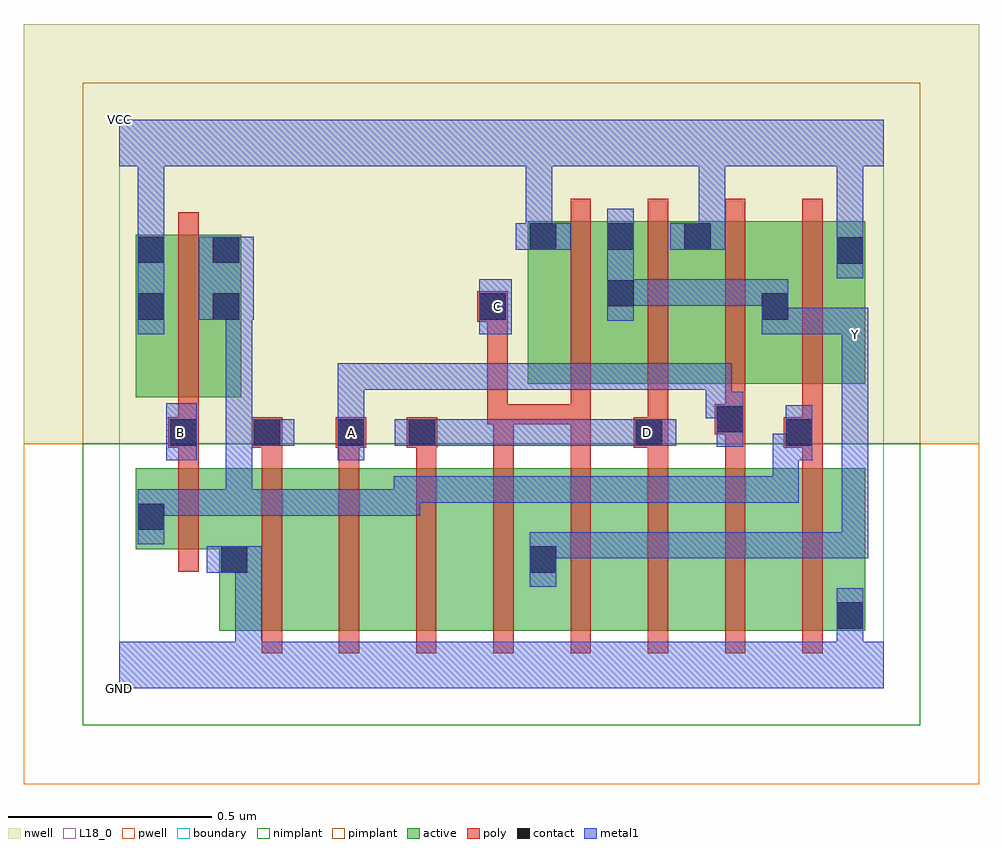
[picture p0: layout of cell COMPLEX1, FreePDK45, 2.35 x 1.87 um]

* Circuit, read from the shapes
.subckt COMPLEX1 A B C D GND VCC Y
M1 GND B n1 VSUBS nfet w=0.2u l=0.05u
M2 n2 n1 GND VSUBS nfet w=0.4u l=0.05u
M3 n3 A n2 VSUBS nfet w=0.4u l=0.05u
M4 n4 D n3 VSUBS nfet w=0.4u l=0.05u
M5 Y C n4 VSUBS nfet w=0.4u l=0.05u
M6 n5 C Y VSUBS nfet w=0.4u l=0.05u
M7 n6 D n5 VSUBS nfet w=0.4u l=0.05u
M8 n7 A n6 VSUBS nfet w=0.4u l=0.05u
M9 GND n1 n7 VSUBS nfet w=0.4u l=0.05u
M10 n1 B VCC n8 pfet w=0.4u l=0.05u
M11 Y C VCC n8 pfet w=0.4u l=0.05u
M12 VCC D Y n8 pfet w=0.4u l=0.05u
M13 Y A VCC n8 pfet w=0.4u l=0.05u
M14 VCC n1 Y n8 pfet w=0.4u l=0.05u
.ends

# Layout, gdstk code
import gdstk
lib = gdstk.Library(unit=1e-6, precision=1e-09)
def R(c, l, rs):  # rectangles x0, y0, x1, y1
    for r in rs: c.add(gdstk.rectangle(r[:2], r[2:], *l))
def A(c, l, x, y, w, h, nx, ny, dx, dy):  # array of equal rectangles
    R(c, l, [(x+i*dx, y+j*dy, x+i*dx+w, y+j*dy+h) for i in range(nx) for j in range(ny)])
active = (1, 0)
pwell = (2, 0)
nwell = (3, 0)
nimplant = (4, 0)
pimplant = (5, 0)
poly = (9, 0)
contact = (10, 0)
metal1 = (11, 0)
L18_0 = (18, 0)
boundary = (235, 0)

complex1 = lib.new_cell('COMPLEX1')
A(complex1, active, 1.005, 0.75, 0.265, 0.4, 3, 1, 0.19, 0)
R(complex1, active, [(0.245,0.142,0.47,0.542), (0.47,0.142,0.66,0.542), (0.66,0.142,0.85,0.542), (0.85,0.142,1.08,0.542), (1.005,0.142,1.23,0.542), (1.23,0.142,1.42,0.542), (1.42,0.142,1.61,0.542), (1.61,0.142,1.835,0.542), (1.76,0.142,1.835,0.542), (1.005,0.147,1.08,0.492), (0.245,0.28,0.32,0.355), (0.04,0.342,0.32,0.542), (0.04,0.342,0.115,0.542), (0.04,0.717,0.115,1.117), (0.04,0.717,0.3,1.117), (0.225,0.717,0.3,1.117), (1.005,0.75,1.08,1.15), (1.575,0.75,1.835,1.15), (1.575,0.75,1.65,1.067), (1.76,0.75,1.835,1.15), (1.195,0.802,1.27,1.15), (1.385,0.907,1.46,1.15)])
R(complex1, pwell, [(-0.235,-0.235,2.115,0.602)])
R(complex1, nwell, [(-0.235,0.602,2.115,1.635)])
R(complex1, nimplant, [(-0.09,-0.09,1.97,0.602)])
R(complex1, pimplant, [(-0.09,0.602,1.97,1.49)])
A(complex1, poly, 0.35, 0.087, 0.05, 0.51, 8, 1, 0.19, 0)
A(complex1, poly, 0.35, 0.547, 0.05, 0.095, 3, 1, 0.19, 0)
A(complex1, poly, 1.11, 0.695, 0.05, 0.51, 4, 1, 0.19, 0)
R(complex1, poly, [(0.145,0.287,0.195,0.597), (0.145,0.547,0.195,0.642), (0.92,0.547,0.97,0.7), (1.11,0.547,1.16,0.7), (1.3,0.547,1.35,0.642), (1.49,0.547,1.54,0.675), (1.68,0.547,1.73,0.642), (0.12,0.592,0.195,0.667), (0.325,0.592,0.4,0.667), (0.532,0.592,0.607,0.667), (0.707,0.592,0.782,0.667), (1.265,0.592,1.35,0.667), (1.635,0.592,1.73,0.667), (0.145,0.617,0.195,0.712), (1.3,0.617,1.35,0.745), (1.68,0.617,1.73,0.745), (1.465,0.625,1.54,0.7), (0.905,0.65,0.955,0.952), (0.905,0.65,0.97,0.7), (0.92,0.65,1.16,0.7), (1.11,0.65,1.16,0.745), (1.11,0.65,1.16,0.7), (1.11,0.65,1.16,0.7), (1.11,0.65,1.16,0.7), (1.49,0.65,1.54,0.745), (0.145,0.662,0.195,1.172), (0.88,0.902,0.955,0.977), (0.905,0.902,0.955,0.952), (0.905,0.902,0.955,0.952)])
A(complex1, contact, 1.01, 1.08, 0.065, 0.065, 3, 1, 0.19, 0)
R(complex1, contact, [(1.765,0.147,1.83,0.212), (0.25,0.285,0.315,0.35), (1.01,0.285,1.075,0.35), (0.045,0.39,0.11,0.455), (0.125,0.597,0.19,0.662), (0.33,0.597,0.395,0.662), (0.537,0.597,0.602,0.662), (0.712,0.597,0.777,0.662), (1.27,0.597,1.335,0.662), (1.64,0.597,1.705,0.662), (1.47,0.63,1.535,0.695), (0.045,0.907,0.11,0.972), (0.23,0.907,0.295,0.972), (0.885,0.907,0.95,0.972), (1.58,0.907,1.645,0.972), (1.2,0.94,1.265,1.005), (1.765,1.045,1.83,1.11), (0.045,1.047,0.11,1.112), (0.23,1.047,0.295,1.112)])
R(complex1, metal1, [(0,0,1.88,0.115), (0.285,0.05,0.35,0.35), (1.765,0.05,1.83,0.177), (1.765,0.112,1.83,0.247), (1.01,0.25,1.075,0.385), (0.215,0.285,0.35,0.35), (1.01,0.32,1.087,0.385), (1.022,0.32,1.087,0.385), (1.022,0.32,1.282,0.385), (1.217,0.32,1.282,0.385), (1.217,0.32,1.282,0.385), (1.217,0.32,1.282,0.385), (1.217,0.32,1.507,0.385), (1.442,0.32,1.507,0.385), (1.442,0.32,1.507,0.385), (1.442,0.32,1.507,0.385), (1.442,0.32,1.692,0.385), (1.627,0.32,1.692,0.385), (1.627,0.32,1.692,0.385), (1.627,0.32,1.692,0.385), (1.627,0.32,1.842,0.385), (1.777,0.32,1.842,0.385), (1.777,0.32,1.842,0.385), (1.777,0.32,1.842,0.385), (1.777,0.32,1.842,0.867), (0.045,0.355,0.11,0.49), (0.045,0.425,0.11,0.49), (0.045,0.425,0.11,0.49), (0.045,0.425,0.327,0.49), (0.262,0.425,0.327,0.49), (0.262,0.425,0.327,0.49), (0.262,0.425,0.327,0.49), (0.262,0.425,0.465,0.49), (0.262,0.425,0.327,0.662), (0.4,0.425,0.465,0.49), (0.4,0.425,0.465,0.49), (0.4,0.425,0.465,0.49), (0.4,0.425,0.602,0.49), (0.537,0.425,0.602,0.49), (0.537,0.425,0.74,0.49), (0.675,0.425,0.74,0.522), (0.675,0.457,0.74,0.522), (0.675,0.457,0.74,0.522), (0.675,0.457,0.95,0.522), (0.885,0.457,0.95,0.522), (0.885,0.457,1.127,0.522), (1.062,0.457,1.127,0.522), (1.062,0.457,1.127,0.522), (1.062,0.457,1.127,0.522), (1.062,0.457,1.282,0.522), (1.217,0.457,1.282,0.522), (1.217,0.457,1.282,0.522), (1.217,0.457,1.282,0.522), (1.217,0.457,1.507,0.522), (1.442,0.457,1.507,0.522), (1.442,0.457,1.507,0.522), (1.442,0.457,1.507,0.522), (1.442,0.457,1.672,0.522), (1.607,0.457,1.672,0.522), (1.607,0.457,1.672,0.627), (0.115,0.562,0.19,0.702), (0.537,0.562,0.602,0.697), (1.607,0.562,1.672,0.627), (1.607,0.562,1.705,0.627), (1.64,0.562,1.705,0.697), (1.47,0.595,1.535,0.73), (0.262,0.597,0.327,0.662), (0.262,0.597,0.36,0.662), (0.262,0.597,0.327,0.972), (0.295,0.597,0.43,0.662), (0.677,0.597,0.812,0.662), (0.747,0.597,0.812,0.662), (0.747,0.597,0.812,0.662), (0.747,0.597,0.95,0.662), (0.885,0.597,0.95,0.662), (0.885,0.597,1.127,0.662), (1.062,0.597,1.127,0.662), (1.062,0.597,1.127,0.662), (1.062,0.597,1.127,0.662), (1.062,0.597,1.282,0.662), (1.217,0.597,1.282,0.662), (1.217,0.597,1.297,0.662), (1.232,0.597,1.37,0.662), (0.537,0.632,0.602,0.697), (0.537,0.632,0.602,0.697), (0.537,0.632,0.602,0.8), (1.442,0.665,1.507,0.73), (1.442,0.665,1.507,0.8), (1.442,0.665,1.535,0.73), (0.537,0.735,0.602,0.8), (0.537,0.735,0.74,0.8), (0.675,0.735,0.74,0.8), (0.675,0.735,0.74,0.8), (0.675,0.735,0.74,0.8), (0.675,0.735,0.95,0.8), (0.885,0.735,0.95,0.8), (0.885,0.735,1.087,0.8), (1.022,0.735,1.087,0.8), (1.022,0.735,1.087,0.8), (1.022,0.735,1.087,0.8), (1.022,0.735,1.265,0.8), (1.2,0.735,1.265,0.8), (1.2,0.735,1.265,0.8), (1.2,0.735,1.265,0.8), (1.2,0.735,1.507,0.8), (1.442,0.735,1.507,0.8), (1.777,0.802,1.842,0.937), (0.045,0.872,0.11,1.147), (0.885,0.872,0.965,1.007), (1.58,0.872,1.645,1.007), (1.58,0.872,1.842,0.937), (1.777,0.872,1.842,0.937), (1.777,0.872,1.842,0.937), (1.777,0.872,1.842,0.937), (1.777,0.872,1.842,0.937), (1.2,0.905,1.265,1.18), (0.195,0.907,0.33,1.112), (1.2,0.942,1.265,1.007), (1.2,0.942,1.265,1.007), (1.2,0.942,1.507,1.007), (1.442,0.942,1.507,1.007), (1.442,0.942,1.507,1.007), (1.442,0.942,1.507,1.007), (1.442,0.942,1.645,1.007), (1.58,0.942,1.645,1.007), (1.58,0.942,1.645,1.007), (1.765,1.01,1.83,1.145), (0.975,1.08,1.11,1.145), (1,1.08,1.065,1.35), (1,1.08,1.065,1.145), (1,1.08,1.065,1.145), (1.355,1.08,1.49,1.145), (1.425,1.08,1.49,1.35), (1.765,1.08,1.83,1.35), (0.045,1.082,0.11,1.35), (0,1.285,1.88,1.4), (0.045,1.285,0.11,1.35), (0.045,1.285,0.11,1.35), (1.425,1.285,1.49,1.35), (1.425,1.285,1.49,1.35), (1.765,1.285,1.83,1.35), (1.765,1.285,1.83,1.35)])
R(complex1, L18_0, [(0,0,1.88,0.115), (0.285,0.05,0.35,0.35), (1.765,0.05,1.83,0.177), (1.765,0.112,1.83,0.247), (1.01,0.25,1.075,0.385), (0.215,0.285,0.35,0.35), (1.01,0.32,1.087,0.385), (1.022,0.32,1.087,0.385), (1.022,0.32,1.282,0.385), (1.217,0.32,1.282,0.385), (1.217,0.32,1.282,0.385), (1.217,0.32,1.282,0.385), (1.217,0.32,1.507,0.385), (1.442,0.32,1.507,0.385), (1.442,0.32,1.507,0.385), (1.442,0.32,1.507,0.385), (1.442,0.32,1.692,0.385), (1.627,0.32,1.692,0.385), (1.627,0.32,1.692,0.385), (1.627,0.32,1.692,0.385), (1.627,0.32,1.842,0.385), (1.777,0.32,1.842,0.385), (1.777,0.32,1.842,0.385), (1.777,0.32,1.842,0.385), (1.777,0.32,1.842,0.867), (0.115,0.562,0.19,0.702), (0.537,0.562,0.602,0.697), (1.47,0.595,1.535,0.73), (0.117,0.597,0.182,0.662), (0.537,0.597,0.602,0.662), (0.677,0.597,0.812,0.662), (0.747,0.597,0.812,0.662), (0.747,0.597,0.812,0.662), (0.747,0.597,0.95,0.662), (0.885,0.597,0.95,0.662), (0.885,0.597,1.127,0.662), (1.062,0.597,1.127,0.662), (1.062,0.597,1.127,0.662), (1.062,0.597,1.127,0.662), (1.062,0.597,1.282,0.662), (1.217,0.597,1.282,0.662), (1.217,0.597,1.297,0.662), (1.232,0.597,1.37,0.662), (1.267,0.597,1.332,0.662), (0.537,0.632,0.602,0.697), (0.537,0.632,0.602,0.697), (0.537,0.632,0.602,0.8), (1.442,0.665,1.507,0.73), (1.442,0.665,1.507,0.8), (1.442,0.665,1.535,0.73), (0.537,0.735,0.602,0.8), (0.537,0.735,0.74,0.8), (0.675,0.735,0.74,0.8), (0.675,0.735,0.74,0.8), (0.675,0.735,0.74,0.8), (0.675,0.735,0.95,0.8), (0.885,0.735,0.95,0.8), (0.885,0.735,1.087,0.8), (1.022,0.735,1.087,0.8), (1.022,0.735,1.087,0.8), (1.022,0.735,1.087,0.8), (1.022,0.735,1.265,0.8), (1.2,0.735,1.265,0.8), (1.2,0.735,1.265,0.8), (1.2,0.735,1.265,0.8), (1.2,0.735,1.507,0.8), (1.442,0.735,1.507,0.8), (1.777,0.802,1.842,0.937), (1.777,0.837,1.842,0.902), (0.045,0.872,0.11,1.147), (0.885,0.872,0.965,1.007), (1.58,0.872,1.645,1.007), (1.58,0.872,1.842,0.937), (1.777,0.872,1.842,0.937), (1.777,0.872,1.842,0.937), (1.777,0.872,1.842,0.937), (1.777,0.872,1.842,0.937), (1.2,0.905,1.265,1.18), (0.897,0.907,0.962,0.972), (1.2,0.942,1.265,1.007), (1.2,0.942,1.265,1.007), (1.2,0.942,1.507,1.007), (1.442,0.942,1.507,1.007), (1.442,0.942,1.507,1.007), (1.442,0.942,1.507,1.007), (1.442,0.942,1.645,1.007), (1.58,0.942,1.645,1.007), (1.58,0.942,1.645,1.007), (1.765,1.01,1.83,1.145), (0.975,1.08,1.11,1.145), (1,1.08,1.065,1.145), (1,1.08,1.065,1.145), (1,1.08,1.065,1.35), (1.355,1.08,1.49,1.145), (1.425,1.08,1.49,1.35), (1.765,1.08,1.83,1.35), (0.045,1.082,0.11,1.35), (0,1.285,1.88,1.4), (0.045,1.285,0.11,1.35), (0.045,1.285,0.11,1.35), (1.425,1.285,1.49,1.35), (1.425,1.285,1.49,1.35), (1.765,1.285,1.83,1.35), (1.765,1.285,1.83,1.35)])
R(complex1, boundary, [(0,0,1.88,1.4)])
complex1.add(gdstk.Label('A', (0.57,0.63), layer=11, texttype=0))
complex1.add(gdstk.Label('B', (0.15,0.63), layer=11, texttype=0))
complex1.add(gdstk.Label('C', (0.93,0.94), layer=11, texttype=0))
complex1.add(gdstk.Label('D', (1.3,0.63), layer=11, texttype=0))
complex1.add(gdstk.Label('Y', (1.81,0.87), layer=11, texttype=0))
complex1.add(gdstk.Label('VCC', (0,1.4), layer=11, texttype=0))
complex1.add(gdstk.Label('GND', (0,0), layer=11, texttype=0))

lib.write_gds('COMPLEX1.gds')
